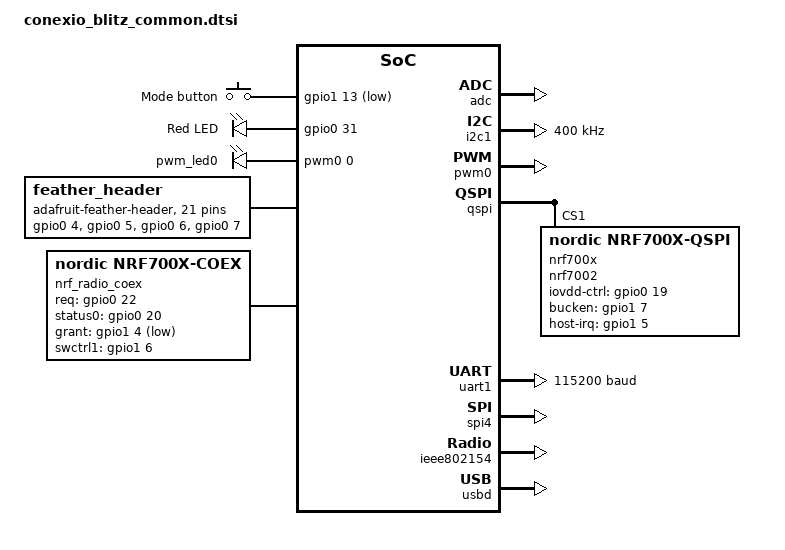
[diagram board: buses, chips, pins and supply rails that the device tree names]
/*
 * Copyright (c) 2024 Conexio Technologies, Inc
 * Copyright (c) 2022 Nordic Semiconductor
 *
 * SPDX-License-Identifier: Apache-2.0
 */
#include "conexio_blitz_common-pinctrl.dtsi"
#include <zephyr/dt-bindings/input/input-event-codes.h>

/ {
	chosen {
		zephyr,console = &cdc_acm_uart;
		zephyr,shell-uart = &cdc_acm_uart;
		zephyr,uart-mcumgr = &cdc_acm_uart;
		zephyr,bt-mon-uart = &cdc_acm_uart;
		zephyr,bt-c2h-uart = &cdc_acm_uart;
		zephyr,bt-hci-ipc = &ipc0;
		nordic,802154-spinel-ipc = &ipc0;
		zephyr,ieee802154 = &ieee802154;
	};

	buttons {
		compatible = "gpio-keys";
		button0: button_0 {
			gpios = <&gpio1 13 (GPIO_PULL_UP | GPIO_ACTIVE_LOW)>;
			label = "Mode button";
			zephyr,code = <INPUT_KEY_0>;
		};
	};

	leds {
		compatible = "gpio-leds";
		red_led: led_0 {
			gpios = <&gpio0 31 GPIO_ACTIVE_HIGH>;
			label = "Red LED";
		};
	};

	pwmleds {
		compatible = "pwm-leds";
		pwm_led0: pwm_led_0 {
			pwms = <&pwm0 0 PWM_MSEC(20) PWM_POLARITY_NORMAL>;
		};
	};

	feather_header: feather_connector {
		compatible = "adafruit-feather-header";
		#gpio-cells = <2>;
		gpio-map-mask = <0xffffffff 0xffffffc0>;
		gpio-map-pass-thru = <0 0x3f>;
		gpio-map = <0 0 &gpio0 4 0>,	/* A0 */
			   <1 0 &gpio0 5 0>,	/* A1 */
			   <2 0 &gpio0 6 0>,	/* A2 */
			   <3 0 &gpio0 7 0>,	/* A3 */
			   <4 0 &gpio0 25 0>,	/* A4 */
			   <5 0 &gpio0 26 0>,	/* A5 */
			   <6 0 &gpio0 29 0>,	/* SCK */
			   <7 0 &gpio0 28 0>,	/* MOSI */
			   <8 0 &gpio0 30 0>,	/* MISO */
			   <9 0 &gpio1 11 0>,	/* RXD */
			   <10 0 &gpio1 12 0>,	/* TXD */
			   <11 0 &gpio1 0 0>,	/* D2 */
			   <12 0 &gpio1 2 0>,	/* SDA */
			   <13 0 &gpio1 3 0>,	/* SCL */
			   <14 0 &gpio1 1 0>,	/* D5 */
			   <15 0 &gpio0 8 0>,	/* D6 */
			   <16 0 &gpio0 9 0>,	/* D9 */
			   <17 0 &gpio0 10 0>,	/* D10 */
			   <18 0 &gpio0 11 0>,	/* D11 */
			   <19 0 &gpio0 12 0>,	/* D12 */
			   <20 0 &gpio0 24 0>;	/* D13 */
	};

	nrf_radio_coex: nrf7002-coex {
		status = "okay";
		compatible = "nordic,nrf700x-coex";
		req-gpios = <&gpio0 22 GPIO_ACTIVE_HIGH>;
		status0-gpios = <&gpio0 20 GPIO_ACTIVE_HIGH>;
		grant-gpios = <&gpio1 4 (GPIO_PULL_DOWN | GPIO_ACTIVE_LOW)>;
		swctrl1-gpios = <&gpio1 6 GPIO_ACTIVE_HIGH>;
	};

	nordic_wlan0: nordic_wlan0 {
		compatible = "nordic,wlan0";
		status = "okay";
	};

	/* These aliases are provided for compatibility with samples */
	aliases {
		led0 = &red_led;
		pwm-led0 = &pwm_led0;
		sw0 = &button0;
		bootloader-led0 = &red_led;
		mcuboot-button0 = &button0;
		mcuboot-led0 = &red_led;
		watchdog0 = &wdt0;
	};
};

&adc {
	status = "okay";
};

&gpiote {
	status = "okay";
};

&gpio0 {
	status = "okay";
};

&gpio1 {
	status = "okay";
};

&i2c1 {
	compatible = "nordic,nrf-twim";
	status = "okay";
	clock-frequency = <I2C_BITRATE_FAST>;

	pinctrl-0 = <&i2c1_default>;
	pinctrl-1 = <&i2c1_sleep>;
	pinctrl-names = "default", "sleep";
};

/* UART0 GPIOs can be configured for other use-cases */
&uart0 {
	/* Disabled by default */
	current-speed = <115200>;
	status = "disabled";
	pinctrl-0 = <&uart0_default>;
	pinctrl-1 = <&uart0_sleep>;
	pinctrl-names = "default", "sleep";
};

&pwm0 {
	status = "okay";
	pinctrl-0 = <&pwm0_default>;
	pinctrl-1 = <&pwm0_sleep>;
	pinctrl-names = "default", "sleep";
};

&qspi {
	status = "okay";

	pinctrl-0 = <&qspi_default>;
	pinctrl-1 = <&qspi_sleep>;
	pinctrl-names = "default", "sleep";
	nrf700x: nrf7002@1 {
		status = "okay";
		compatible = "nordic,nrf700x-qspi";
		reg = <1>;
		sck-frequency = <24000000>;
		quad-mode;
		/* Wi-Fi Pins used */
		iovdd-ctrl-gpios = <&gpio0 19 GPIO_ACTIVE_HIGH>;
		bucken-gpios = <&gpio1 7 GPIO_ACTIVE_HIGH>;
		host-irq-gpios = <&gpio1 5 GPIO_ACTIVE_HIGH>;
	};
};

&uart1 {
	compatible = "nordic,nrf-uarte";
	current-speed = <115200>;
	pinctrl-0 = <&uart1_default>;
	pinctrl-1 = <&uart1_sleep>;
	pinctrl-names = "default", "sleep";
};

&spi4 {
	compatible = "nordic,nrf-spim";
	status = "okay";
	cs-gpios = <&gpio1 0 GPIO_ACTIVE_LOW>; /* D2 */
	pinctrl-0 = <&spi4_default>;
	pinctrl-1 = <&spi4_sleep>;
	pinctrl-names = "default", "sleep";
};

&flash0 {

	partitions {
		compatible = "fixed-partitions";
		#address-cells = <1>;
		#size-cells = <1>;

		boot_partition: partition@0 {
			label = "mcuboot";
			reg = <0x00000000 0x00010000>;
		};
		slot0_partition: partition@10000 {
			label = "image-0";
		};
		slot0_ns_partition: partition@50000 {
			label = "image-0-nonsecure";
		};
		slot1_partition: partition@80000 {
			label = "image-1";
		};
		slot1_ns_partition: partition@c0000 {
			label = "image-1-nonsecure";
		};
		/* 0xf0000 to 0xf7fff reserved for TF-M partitions */
		storage_partition: partition@f8000 {
			label = "storage";
			reg = <0x000f8000 0x00008000>;
		};
	};
};

&ieee802154 {
	status = "okay";
};

zephyr_udc0: &usbd {
	compatible = "nordic,nrf-usbd";
	status = "okay";

	cdc_acm_uart: cdc_acm_uart {
		compatible = "zephyr,cdc-acm-uart";
	};
};

/ {

	reserved-memory {
		#address-cells = <1>;
		#size-cells = <1>;
		ranges;

		sram0_image: image@20000000 {
			/* Zephyr image(s) memory */
		};

		sram0_s: image_s@20000000 {
			/* Secure image memory */
		};

		sram0_ns: image_ns@20040000 {
			/* Non-Secure image memory */
		};
	};
};

/* Include partition configuration file */
#include "conexio_blitz_partition_conf.dtsi"
